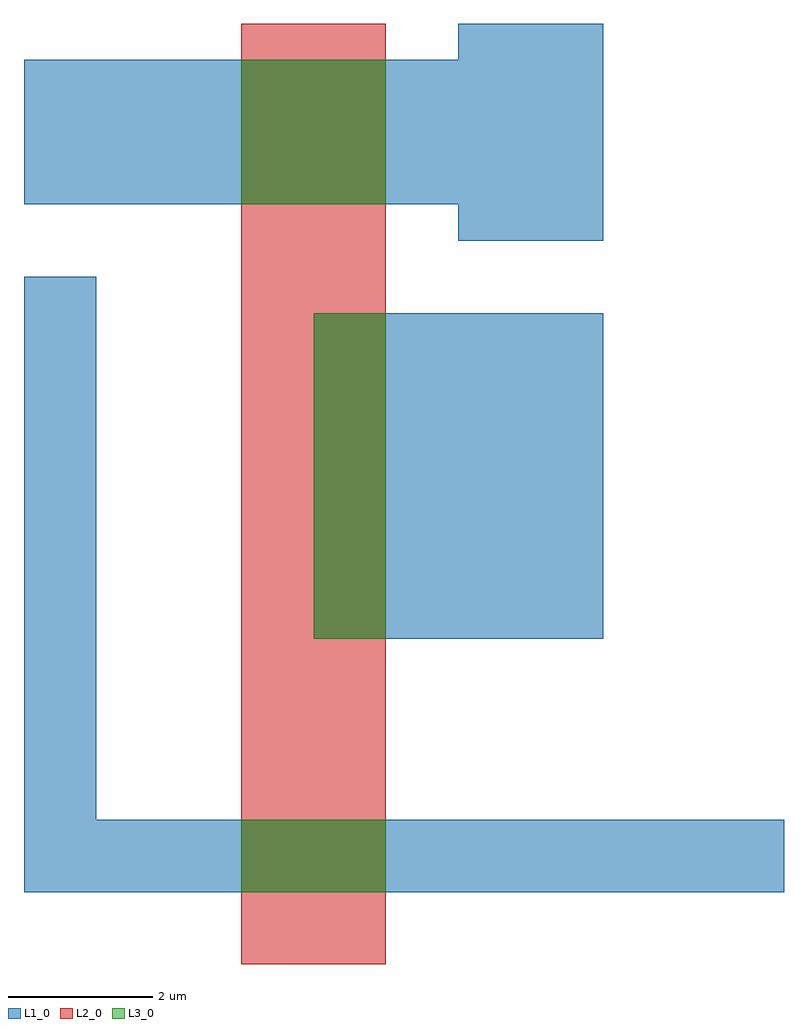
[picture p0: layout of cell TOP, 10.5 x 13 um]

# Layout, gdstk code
import gdstk
lib = gdstk.Library(unit=1e-6, precision=1e-09)
def R(c, l, rs):  # rectangles x0, y0, x1, y1
    for r in rs: c.add(gdstk.rectangle(r[:2], r[2:], *l))
def P(c, l, *ps):  # polygons
    for p in ps: c.add(gdstk.Polygon(p, *l))
L1_0 = (1, 0)
L2_0 = (2, 0)
L3_0 = (3, 0)

top = lib.new_cell('TOP')
R(top, L1_0, [(4,3.5,8,8)])
P(top, L1_0, [(0,0),(0,8.5),(1,8.5),(1,1),(10.5,1),(10.5,0)],
  [(6,9),(6,9.5),(0,9.5),(0,11.5),(6,11.5),(6,12),(8,12),(8,9)])
R(top, L2_0, [(3,-1,5,12)])
R(top, L3_0, [(3,0,5,1), (4,3.5,5,8), (3,9.5,5,11.5)])

lib.write_gds('TOP.gds')
